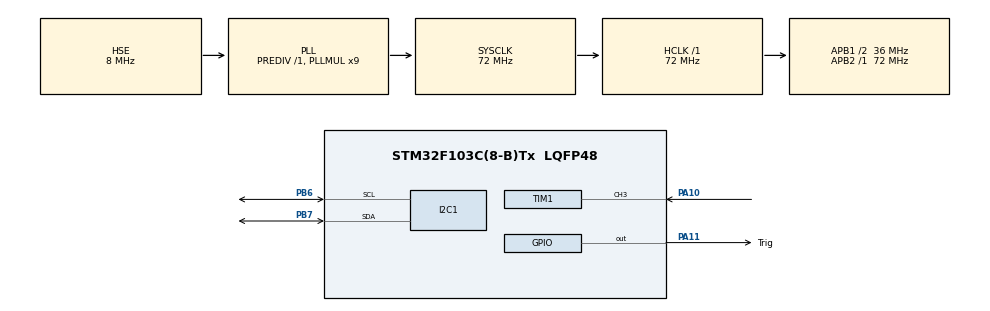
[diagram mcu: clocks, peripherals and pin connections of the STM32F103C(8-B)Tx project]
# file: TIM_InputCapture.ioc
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Mcu.Family=STM32F1
Mcu.Name=STM32F103C(8-B)Tx
Mcu.Package=LQFP48
NVIC.PriorityGroup=NVIC_PRIORITYGROUP_4
NVIC.TIM1_CC_IRQn=true\:0\:0\:false\:false\:true\:true\:true\:true
PA10.Signal=S_TIM1_CH3
PA11.GPIO_Label=Trig
PA11.Signal=GPIO_Output
PA13.Mode=Serial_Wire
PA13.Signal=SYS_JTMS-SWDIO
PA14.Mode=Serial_Wire
PA14.Signal=SYS_JTCK-SWCLK
PB6.Mode=I2C
PB6.Signal=I2C1_SCL
PB7.Mode=I2C
PB7.Signal=I2C1_SDA
PD0-OSC_IN.Mode=HSE-External-Oscillator
PD0-OSC_IN.Signal=RCC_OSC_IN
PD1-OSC_OUT.Mode=HSE-External-Oscillator
PD1-OSC_OUT.Signal=RCC_OSC_OUT
ProjectManager.HeapSize=0x200
ProjectManager.StackSize=0x400
ProjectManager.TargetToolchain=STM32CubeIDE
RCC.AHBFreq_Value=72000000
RCC.APB1CLKDivider=RCC_HCLK_DIV2
RCC.APB1Freq_Value=36000000
RCC.APB1TimFreq_Value=72000000
RCC.APB2Freq_Value=72000000
RCC.APB2TimFreq_Value=72000000
RCC.HCLKFreq_Value=72000000
RCC.PLLMUL=RCC_PLL_MUL9
RCC.PLLSourceVirtual=RCC_PLLSOURCE_HSE
RCC.SYSCLKFreq_VALUE=72000000
RCC.SYSCLKSource=RCC_SYSCLKSOURCE_PLLCLK
RCC.USBFreq_Value=72000000
SH.S_TIM1_CH3.0=TIM1_CH3,Input_Capture3_from_TI3
TIM1.Channel-Input_Capture3_from_TI3=TIM_CHANNEL_3
TIM1.Channel-Input_Capture4_from_TI3_63=TIM_CHANNEL_4
TIM1.ICPolarity_CH4=TIM_INPUTCHANNELPOLARITY_FALLING
TIM1.Prescaler=72-1
VP_TIM1_VS_ClockSourceINT.Mode=Internal
VP_TIM1_VS_indirect_ch3.Mode=Input_Capture4_from_TI3_63
board=custom

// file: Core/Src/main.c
/* USER CODE BEGIN Header */
/**
  ******************************************************************************
  * @file           : main.c
  * @brief          : Main program body
  ******************************************************************************
  * @attention
  *
  * Copyright (c) 2025 STMicroelectronics.
  * All rights reserved.
  *
  * This software is licensed under terms that can be found in the LICENSE file
  * in the root directory of this software component.
  * If no LICENSE file comes with this software, it is provided AS-IS.
  *
  ******************************************************************************
  */
/* USER CODE END Header */
#include "main.h"
#include "i2c.h"
#include "tim.h"
#include "gpio.h"

/* USER CODE BEGIN Includes */
#include <oled.h>
#include"stdio.h"
/* USER CODE END Includes */

void SystemClock_Config(void);

/* USER CODE BEGIN 0 */
int upEdge=0;
int downEdge=0;
float distance=0;

void HAL_TIM_IC_CaptureCallback(TIM_HandleTypeDef *htim){
	if (htim == &htim1 && htim->Channel == HAL_TIM_ACTIVE_CHANNEL_4){
		upEdge = HAL_TIM_ReadCapturedValue(htim,TIM_CHANNEL_3);
		downEdge = HAL_TIM_ReadCapturedValue(htim,TIM_CHANNEL_4);
		distance =((downEdge-upEdge)*0.034)/2;

	}
}
/* USER CODE END 0 */

int main(void)
{

  /* MCU Configuration--------------------------------------------------------*/

  /* Reset of all peripherals, Initializes the Flash interface and the Systick. */
  HAL_Init();

  /* Configure the system clock */
  SystemClock_Config();

  /* Initialize all configured peripherals */
  MX_GPIO_Init();
  MX_I2C1_Init();
  MX_TIM1_Init();
  /* USER CODE BEGIN 2 */
  HAL_Delay(20);
  OLED_Init();

  HAL_TIM_Base_Start(&htim1);
  HAL_TIM_IC_Start(&htim1, TIM_CHANNEL_3);
  HAL_TIM_IC_Start_IT(&htim1, TIM_CHANNEL_4);

  char message[20]="";

  /* USER CODE END 2 */

  /* Infinite loop */
  /* USER CODE BEGIN WHILE */
  while (1)
  {
	  HAL_GPIO_WritePin(Trig_GPIO_Port,Trig_Pin,GPIO_PIN_SET);
	  HAL_Delay(1);
	  HAL_GPIO_WritePin(Trig_GPIO_Port,Trig_Pin,GPIO_PIN_RESET);
	  __HAL_TIM_SET_COUNTER(&htim1,0);
	  HAL_Delay(20);

	  if (distance>=20){
		  OLED_NewFrame();
		  sprintf(message,"距离：%.2fcm",distance);
		  OLED_PrintString(0, 0, message, &font16x16, OLED_COLOR_NORMAL);
		  sprintf(message,"距离过远");
		  OLED_PrintString(0, 20, message, &font16x16, OLED_COLOR_NORMAL);
		  OLED_ShowFrame();

	  }
	  else{
		  OLED_NewFrame();
		  sprintf(message,"距离：%.2fcm",distance);
		  OLED_PrintString(0, 0, message, &font16x16, OLED_COLOR_NORMAL);
		  OLED_ShowFrame();
	  }

	  HAL_Delay(500);

    /* USER CODE END WHILE */

  }
}

void SystemClock_Config(void)
{
  RCC_OscInitTypeDef RCC_OscInitStruct = {0};
  RCC_ClkInitTypeDef RCC_ClkInitStruct = {0};

  /** Initializes the RCC Oscillators according to the specified parameters
  * in the RCC_OscInitTypeDef structure.
  */
  RCC_OscInitStruct.OscillatorType = RCC_OSCILLATORTYPE_HSE;
  RCC_OscInitStruct.HSEState = RCC_HSE_ON;
  RCC_OscInitStruct.HSEPredivValue = RCC_HSE_PREDIV_DIV1;
  RCC_OscInitStruct.HSIState = RCC_HSI_ON;
  RCC_OscInitStruct.PLL.PLLState = RCC_PLL_ON;
  RCC_OscInitStruct.PLL.PLLSource = RCC_PLLSOURCE_HSE;
  RCC_OscInitStruct.PLL.PLLMUL = RCC_PLL_MUL9;
  if (HAL_RCC_OscConfig(&RCC_OscInitStruct) != HAL_OK)
  {
    Error_Handler();
  }

  /** Initializes the CPU, AHB and APB buses clocks
  */
  RCC_ClkInitStruct.ClockType = RCC_CLOCKTYPE_HCLK|RCC_CLOCKTYPE_SYSCLK
                              |RCC_CLOCKTYPE_PCLK1|RCC_CLOCKTYPE_PCLK2;
  RCC_ClkInitStruct.SYSCLKSource = RCC_SYSCLKSOURCE_PLLCLK;
  RCC_ClkInitStruct.AHBCLKDivider = RCC_SYSCLK_DIV1;
  RCC_ClkInitStruct.APB1CLKDivider = RCC_HCLK_DIV2;
  RCC_ClkInitStruct.APB2CLKDivider = RCC_HCLK_DIV1;

  if (HAL_RCC_ClockConfig(&RCC_ClkInitStruct, FLASH_LATENCY_2) != HAL_OK)
  {
    Error_Handler();
  }
}

void Error_Handler(void)
{
  __disable_irq();
  while (1)
  {
  }
}
